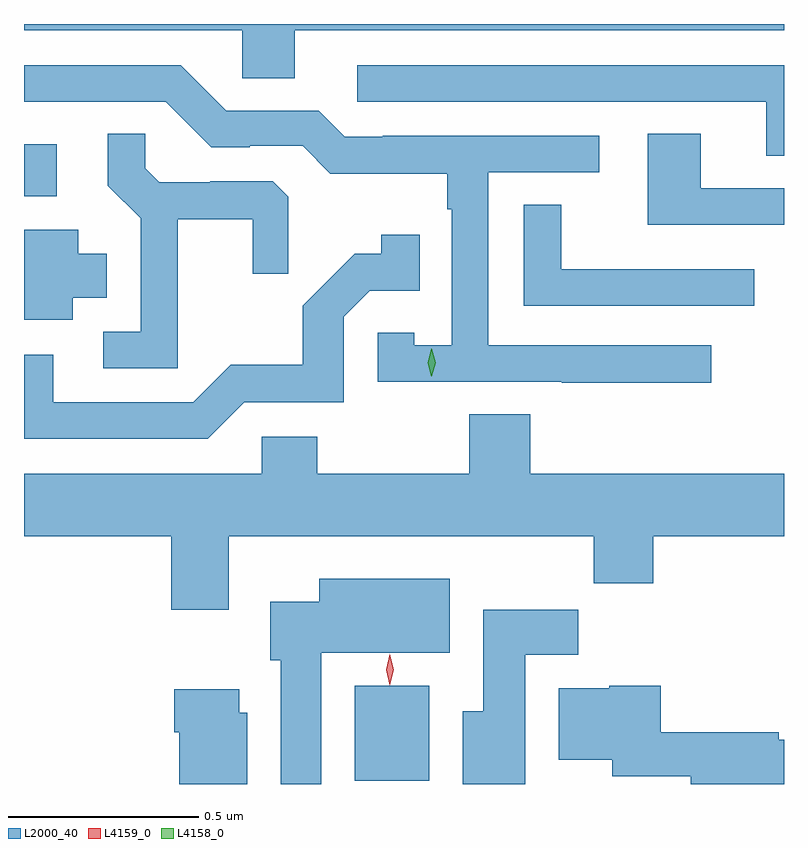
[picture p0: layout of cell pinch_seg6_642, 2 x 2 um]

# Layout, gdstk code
import gdstk
lib = gdstk.Library(unit=1e-6, precision=1e-09)
def R(c, l, rs):  # rectangles x0, y0, x1, y1
    for r in rs: c.add(gdstk.rectangle(r[:2], r[2:], *l))
def P(c, l, *ps):  # polygons
    for p in ps: c.add(gdstk.Polygon(p, *l))
L2000_40 = (2000, 40)
L4158_0 = (4158, 0)
L4159_0 = (4159, 0)

pinch_seg6_642 = lib.new_cell('pinch_seg6_642')
R(pinch_seg6_642, L2000_40, [(466.617,960.012,466.813,960.262), (465.746,961.551,465.832,961.687)])
P(pinch_seg6_642, L2000_40, [(466.459,961.988),(467.746,961.988),(467.746,962.004),(465.746,962.004),(465.746,961.988),(466.32,961.988),(466.32,961.861),(466.459,961.861)],
  [(467.746,961.896),(466.623,961.896),(466.623,961.8),(467.699,961.8),(467.699,961.657),(467.746,961.657)],
  [(467.554,961.158),(466.968,961.158),(466.968,961.614),(467.26,961.614),(467.26,961.71),(466.69,961.71),(466.69,961.707),(466.59,961.707),(466.521,961.776),(466.278,961.776),(466.158,961.896),(465.746,961.896),(465.746,961.8),(466.119,961.8),(466.239,961.68),(466.34,961.68),(466.34,961.683),(466.479,961.683),(466.552,961.61),(466.86,961.61),(466.86,961.517),(466.872,961.517),(466.872,961.159),(466.773,961.159),(466.773,961.191),(466.677,961.191),(466.677,961.062),(467.161,961.062),(467.161,961.06),(467.554,961.06)],
  [(467.746,961.572),(467.527,961.572),(467.527,961.715),(467.387,961.715),(467.387,961.476),(467.746,961.476)],
  [(466.151,961.49),(466.348,961.49),(466.348,961.347),(466.442,961.347),(466.442,961.549),(466.401,961.59),(466.236,961.59),(466.236,961.587),(466.102,961.587),(466.065,961.624),(466.065,961.715),(465.967,961.715),(465.967,961.579),(466.053,961.493),(466.053,961.194),(465.954,961.194),(465.954,961.098),(466.151,961.098)],
  [(467.668,961.358),(467.555,961.358),(467.555,961.359),(467.16,961.359),(467.16,961.529),(467.061,961.529),(467.061,961.263),(467.668,961.263)],
  [(465.874,961.283),(465.964,961.283),(465.964,961.399),(465.889,961.399),(465.889,961.462),(465.746,961.462),(465.746,961.226),(465.874,961.226)],
  [(466.326,961.008),(466.587,961.008),(466.587,961.233),(466.656,961.302),(466.787,961.302),(466.787,961.45),(466.686,961.45),(466.686,961.4),(466.616,961.4),(466.479,961.262),(466.479,961.107),(466.29,961.107),(466.191,961.008),(465.823,961.008),(465.823,961.134),(465.746,961.134),(465.746,960.912),(466.23,960.912)],
  [(466.285,960.656),(467.245,960.656),(467.245,960.532),(467.402,960.532),(467.402,960.656),(467.746,960.656),(467.746,960.82),(467.078,960.82),(467.078,960.977),(466.918,960.977),(466.918,960.82),(466.518,960.82),(466.518,960.918),(466.371,960.918),(466.371,960.82),(465.746,960.82),(465.746,960.656),(466.133,960.656),(466.133,960.462),(466.285,960.462)],
  [(466.528,960.35),(466.867,960.35),(466.867,960.544),(466.523,960.544),(466.523,960.484),(466.394,960.484),(466.394,960.33),(466.421,960.33),(466.421,960.004),(466.528,960.004)],
  [(467.065,960.344),(467.204,960.344),(467.204,960.462),(466.955,960.462),(466.955,960.196),(466.901,960.196),(466.901,960.004),(467.065,960.004)],
  [(467.746,960.12),(467.732,960.12),(467.732,960.14),(467.422,960.14),(467.422,960.262),(467.286,960.262),(467.286,960.256),(467.153,960.256),(467.153,960.068),(467.294,960.068),(467.294,960.024),(467.5,960.024),(467.5,960.004),(467.746,960.004)],
  [(466.333,960.192),(466.312,960.192),(466.312,960.253),(466.142,960.253),(466.142,960.14),(466.154,960.14),(466.154,960.004),(466.333,960.004)])
P(pinch_seg6_642, L4158_0, [(466.818,961.077),(466.809,961.113),(466.818,961.149),(466.819,961.149),(466.819,961.149),(466.829,961.113),(466.819,961.077),(466.819,961.077)])
P(pinch_seg6_642, L4159_0, [(466.709,960.264),(466.709,960.264),(466.699,960.305),(466.709,960.346),(466.709,960.346),(466.709,960.346),(466.719,960.305),(466.709,960.264)])

lib.write_gds('pinch_seg6_642.gds')
